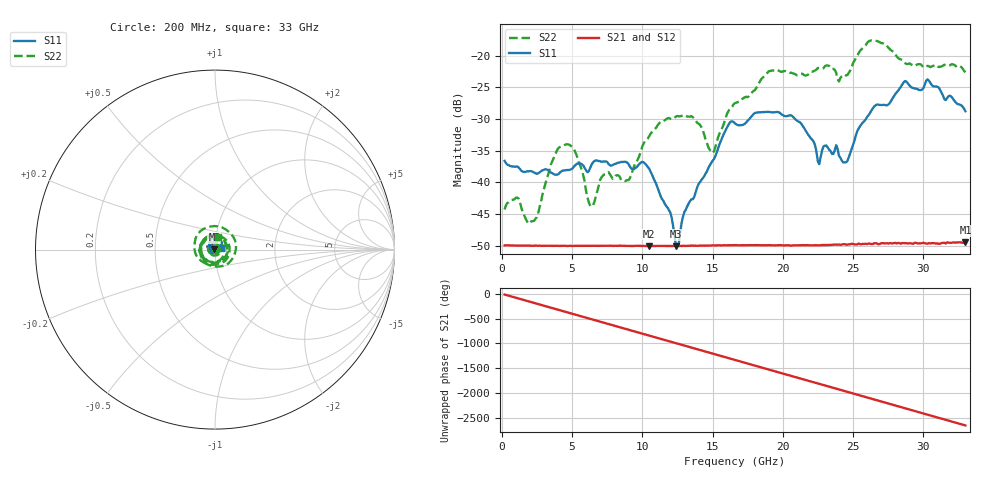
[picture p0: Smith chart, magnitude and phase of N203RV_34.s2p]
# GHZ S RI R 50
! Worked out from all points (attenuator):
!   329 points, 200 MHz to 33 GHz, reference 50 ohm
!   highest |S21| = -49.46 dB at 33 GHz (marker M1); lowest = -50.1 dB at 10.5 GHz (marker M2)
!   lowest |S11| = -50.1 dB at 12.4 GHz (marker M3), VSWR 1.01, Z = 49.7 + j0.107 ohm
!   |S11| at or under -10 dB: start of sweep to end of sweep
!   |S22| runs from -46.5 to -17.6 dB; largest |S21 - S12| = 7.2e-05
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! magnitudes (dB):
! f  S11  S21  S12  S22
! 200 MHz  -36.6  -50.0  -49.9  -44.3
! 1.1 GHz  -37.5  -50.0  -50.0  -42.4
! 2.3 GHz  -38.5  -50.0  -50.0  -46.1
! 4.1 GHz  -38.5  -50.1  -50.0  -34.5
! 5.7 GHz  -37.1  -50.0  -50.0  -38.1
! 6.4 GHz  -37.2  -50.0  -50.0  -43.8
! 7.3 GHz  -36.7  -50.0  -50.0  -38.8
! 9.1 GHz  -37.5  -50.0  -50.0  -39.5
! 10.5 GHz  -37.9  -50.1  -50.1  -32.7
! 11.2 GHz  -41.6  -50.1  -50.0  -30.7
! 12.4 GHz  -50.1  -50.1  -50.0  -29.6
! 15 GHz  -36.6  -50.0  -50.0  -35.4
! 16.6 GHz  -30.7  -49.9  -49.9  -27.5
! 19.7 GHz  -28.9  -50.0  -50.0  -22.4
! 22.1 GHz  -33.3  -50.0  -49.9  -22.6
! 22.6 GHz  -37.1  -50.0  -49.9  -22.0
! 23.1 GHz  -34.2  -49.9  -49.9  -21.6
! 24.5 GHz  -36.9  -49.9  -49.8  -23.1
! 26.1 GHz  -29.4  -49.7  -49.7  -17.8
! 27.6 GHz  -27.5  -49.6  -49.6  -18.9
! 30.3 GHz  -23.7  -49.7  -49.7  -21.6
! 33 GHz  -28.8  -49.5  -49.5  -22.6
